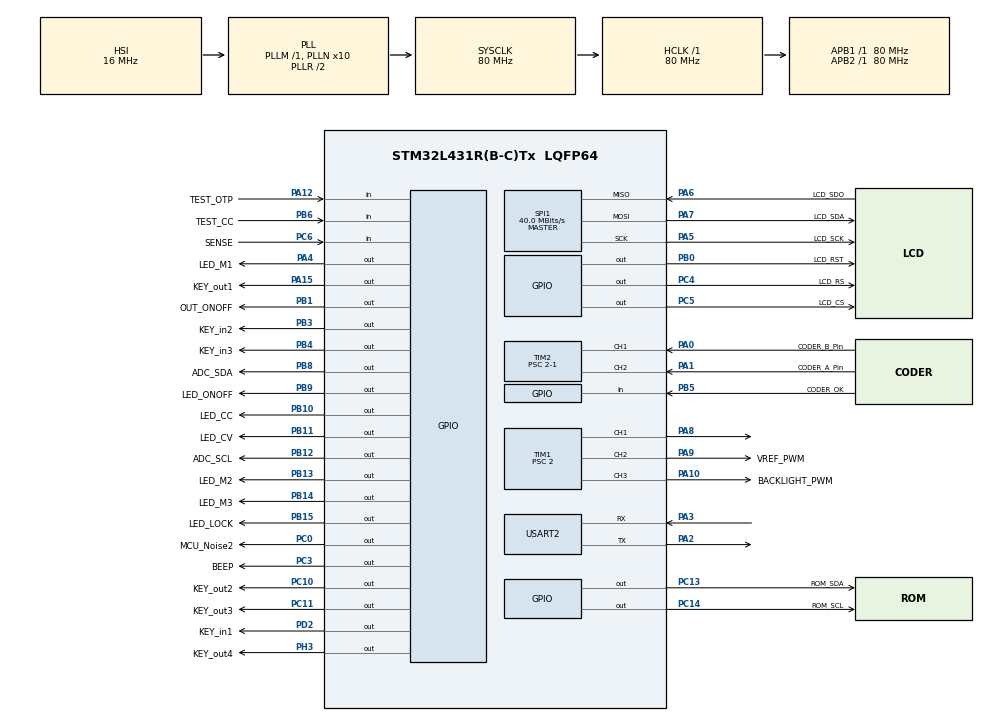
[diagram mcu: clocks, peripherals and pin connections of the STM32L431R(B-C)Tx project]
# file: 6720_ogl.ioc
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Dma.Request0=USART2_RX
Dma.Request1=USART2_TX
Dma.Request2=SPI1_TX
Dma.SPI1_TX.2.Direction=DMA_MEMORY_TO_PERIPH
Dma.SPI1_TX.2.Instance=DMA1_Channel3
Dma.SPI1_TX.2.MemDataAlignment=DMA_MDATAALIGN_BYTE
Dma.SPI1_TX.2.MemInc=DMA_MINC_ENABLE
Dma.SPI1_TX.2.Mode=DMA_NORMAL
Dma.SPI1_TX.2.PeriphDataAlignment=DMA_PDATAALIGN_BYTE
Dma.SPI1_TX.2.PeriphInc=DMA_PINC_DISABLE
Dma.SPI1_TX.2.Priority=DMA_PRIORITY_HIGH
Dma.USART2_RX.0.Direction=DMA_PERIPH_TO_MEMORY
Dma.USART2_RX.0.Instance=DMA1_Channel6
Dma.USART2_RX.0.MemDataAlignment=DMA_MDATAALIGN_BYTE
Dma.USART2_RX.0.MemInc=DMA_MINC_ENABLE
Dma.USART2_RX.0.Mode=DMA_NORMAL
Dma.USART2_RX.0.PeriphDataAlignment=DMA_PDATAALIGN_BYTE
Dma.USART2_RX.0.PeriphInc=DMA_PINC_DISABLE
Dma.USART2_RX.0.Priority=DMA_PRIORITY_LOW
Dma.USART2_TX.1.Direction=DMA_MEMORY_TO_PERIPH
Dma.USART2_TX.1.Instance=DMA1_Channel7
Dma.USART2_TX.1.MemDataAlignment=DMA_MDATAALIGN_BYTE
Dma.USART2_TX.1.MemInc=DMA_MINC_ENABLE
Dma.USART2_TX.1.Mode=DMA_NORMAL
Dma.USART2_TX.1.PeriphDataAlignment=DMA_PDATAALIGN_BYTE
Dma.USART2_TX.1.PeriphInc=DMA_PINC_DISABLE
Dma.USART2_TX.1.Priority=DMA_PRIORITY_LOW
FREERTOS.Mutexes01=LVGL_Mutex,Dynamic,NULL,Available
FREERTOS.Tasks01=defaultTask,24,256,StartDefaultTask,Default,NULL,Dynamic,NULL,NULL
FREERTOS.configENABLE_FPU=0
FREERTOS.configMINIMAL_STACK_SIZE=256
FREERTOS.configTOTAL_HEAP_SIZE=0x2000
FREERTOS.configUSE_TICK_HOOK=1
IWDG.Prescaler=IWDG_PRESCALER_8
IWDG.Reload=4000
IWDG.Window=4000
Mcu.Family=STM32L4
Mcu.Name=STM32L431R(B-C)Tx
Mcu.Package=LQFP64
NVIC.DMA1_Channel3_IRQn=true\:5\:0\:true\:false\:true\:true\:false\:true\:true
NVIC.DMA1_Channel6_IRQn=true\:5\:0\:true\:false\:true\:true\:false\:true\:true
NVIC.DMA1_Channel7_IRQn=true\:5\:0\:true\:false\:true\:true\:false\:true\:true
NVIC.PriorityGroup=NVIC_PRIORITYGROUP_4
NVIC.TIM1_UP_TIM16_IRQn=true\:5\:0\:true\:false\:true\:true\:true\:true\:true
NVIC.TIM7_IRQn=true\:15\:0\:false\:false\:true\:false\:false\:true\:true
NVIC.TimeBase=TIM7_IRQn
NVIC.TimeBaseIP=TIM7
NVIC.USART2_IRQn=true\:5\:0\:true\:false\:true\:true\:false\:true\:true
PA0.GPIO_Label=CODER_B_Pin
PA0.GPIO_ModeDefaultPP=GPIO_MODE_AF_PP
PA0.GPIO_PuPd=GPIO_PULLUP
PA0.Signal=S_TIM2_CH1
PA1.GPIO_Label=CODER_A_Pin
PA1.GPIO_ModeDefaultPP=GPIO_MODE_AF_PP
PA1.GPIO_PuPd=GPIO_PULLUP
PA1.Signal=S_TIM2_CH2
PA10.GPIO_Label=BACKLIGHT_PWM
PA10.Signal=S_TIM1_CH3
PA12.GPIO_Label=TEST_OTP
PA12.Signal=GPIO_Input
PA13\ (JTMS-SWDIO).Mode=Serial_Wire
PA13\ (JTMS-SWDIO).Signal=SYS_JTMS-SWDIO
PA14\ (JTCK-SWCLK).Mode=Serial_Wire
PA14\ (JTCK-SWCLK).Signal=SYS_JTCK-SWCLK
PA15\ (JTDI).GPIO_Label=KEY_out1
PA15\ (JTDI).GPIO_ModeDefaultOutputPP=GPIO_MODE_OUTPUT_OD
PA15\ (JTDI).GPIO_PuPd=GPIO_PULLUP
PA15\ (JTDI).PinState=GPIO_PIN_SET
PA15\ (JTDI).Signal=GPIO_Output
PA2.Mode=Asynchronous
PA2.Signal=USART2_TX
PA3.Mode=Asynchronous
PA3.Signal=USART2_RX
PA4.GPIO_Label=LED_M1
PA4.GPIO_PuPd=GPIO_PULLUP
PA4.PinState=GPIO_PIN_SET
PA4.Signal=GPIO_Output
PA5.GPIO_Label=LCD_SCK
PA5.Mode=Full_Duplex_Master
PA5.Signal=SPI1_SCK
PA6.GPIO_Label=LCD_SDO
PA6.Mode=Full_Duplex_Master
PA6.Signal=SPI1_MISO
PA7.GPIO_Label=LCD_SDA
PA7.Mode=Full_Duplex_Master
PA7.Signal=SPI1_MOSI
PA8.Signal=S_TIM1_CH1
PA9.GPIO_Label=VREF_PWM
PA9.Signal=S_TIM1_CH2
PB0.GPIO_Label=LCD_RST
PB0.Signal=GPIO_Output
PB1.GPIO_Label=OUT_ONOFF
PB1.GPIO_ModeDefaultOutputPP=GPIO_MODE_OUTPUT_PP
PB1.GPIO_PuPd=GPIO_PULLDOWN
PB1.PinState=GPIO_PIN_RESET
PB1.Signal=GPIO_Output
PB10.GPIO_Label=LED_CC
PB10.GPIO_PuPd=GPIO_PULLDOWN
PB10.PinState=GPIO_PIN_RESET
PB10.Signal=GPIO_Output
PB11.GPIO_Label=LED_CV
PB11.GPIO_PuPd=GPIO_PULLDOWN
PB11.PinState=GPIO_PIN_RESET
PB11.Signal=GPIO_Output
PB12.GPIO_Label=ADC_SCL
PB12.GPIO_ModeDefaultOutputPP=GPIO_MODE_OUTPUT_OD
PB12.GPIO_PuPd=GPIO_PULLUP
PB12.PinState=GPIO_PIN_SET
PB12.Signal=GPIO_Output
PB13.GPIO_Label=LED_M2
PB13.GPIO_ModeDefaultOutputPP=GPIO_MODE_OUTPUT_PP
PB13.GPIO_PuPd=GPIO_PULLUP
PB13.PinState=GPIO_PIN_SET
PB13.Signal=GPIO_Output
PB14.GPIO_Label=LED_M3
PB14.GPIO_ModeDefaultOutputPP=GPIO_MODE_OUTPUT_PP
PB14.GPIO_PuPd=GPIO_PULLUP
PB14.PinState=GPIO_PIN_SET
PB14.Signal=GPIO_Output
PB15.GPIO_Label=LED_LOCK
PB15.GPIO_PuPd=GPIO_PULLUP
PB15.PinState=GPIO_PIN_SET
PB15.Signal=GPIO_Output
PB3\ (JTDO-TRACESWO).GPIO_Label=KEY_in2
PB3\ (JTDO-TRACESWO).GPIO_ModeDefaultOutputPP=GPIO_MODE_OUTPUT_OD
PB3\ (JTDO-TRACESWO).GPIO_PuPd=GPIO_PULLUP
PB3\ (JTDO-TRACESWO).PinState=GPIO_PIN_SET
PB3\ (JTDO-TRACESWO).Signal=GPIO_Output
PB4\ (NJTRST).GPIO_Label=KEY_in3
PB4\ (NJTRST).GPIO_ModeDefaultOutputPP=GPIO_MODE_OUTPUT_OD
PB4\ (NJTRST).GPIO_PuPd=GPIO_PULLUP
PB4\ (NJTRST).PinState=GPIO_PIN_SET
PB4\ (NJTRST).Signal=GPIO_Output
PB5.GPIO_Label=CODER_OK
PB5.Signal=GPIO_Input
PB6.GPIO_Label=TEST_CC
PB6.Signal=GPIO_Input
PB8.GPIO_Label=ADC_SDA
PB8.GPIO_ModeDefaultOutputPP=GPIO_MODE_OUTPUT_OD
PB8.GPIO_PuPd=GPIO_PULLUP
PB8.PinState=GPIO_PIN_SET
PB8.Signal=GPIO_Output
PB9.GPIO_Label=LED_ONOFF
PB9.GPIO_PuPd=GPIO_PULLUP
PB9.PinState=GPIO_PIN_SET
PB9.Signal=GPIO_Output
PC0.GPIO_Label=MCU_Noise2
PC0.Signal=GPIO_Output
PC10.GPIO_Label=KEY_out2
PC10.GPIO_ModeDefaultOutputPP=GPIO_MODE_OUTPUT_OD
PC10.GPIO_PuPd=GPIO_PULLUP
PC10.PinState=GPIO_PIN_SET
PC10.Signal=GPIO_Output
PC11.GPIO_Label=KEY_out3
PC11.GPIO_ModeDefaultOutputPP=GPIO_MODE_OUTPUT_OD
PC11.GPIO_PuPd=GPIO_PULLUP
PC11.PinState=GPIO_PIN_SET
PC11.Signal=GPIO_Output
PC13.GPIO_Label=ROM_SDA
PC13.GPIO_ModeDefaultOutputPP=GPIO_MODE_OUTPUT_OD
PC13.GPIO_PuPd=GPIO_PULLUP
PC13.GPIO_Speed=GPIO_SPEED_FREQ_LOW
PC13.PinState=GPIO_PIN_SET
PC13.Signal=GPIO_Output
PC14-OSC32_IN\ (PC14).GPIO_Label=ROM_SCL
PC14-OSC32_IN\ (PC14).GPIO_ModeDefaultOutputPP=GPIO_MODE_OUTPUT_OD
PC14-OSC32_IN\ (PC14).GPIO_PuPd=GPIO_PULLUP
PC14-OSC32_IN\ (PC14).PinState=GPIO_PIN_SET
PC14-OSC32_IN\ (PC14).Signal=GPIO_Output
PC3.GPIO_Label=BEEP
PC3.GPIO_PuPd=GPIO_PULLDOWN
PC3.Signal=GPIO_Output
PC4.GPIO_Label=LCD_RS
PC4.Signal=GPIO_Output
PC5.GPIO_Label=LCD_CS
PC5.Signal=GPIO_Output
PC6.GPIO_Label=SENSE
PC6.Signal=GPIO_Input
PD2.GPIO_Label=KEY_in1
PD2.GPIO_ModeDefaultOutputPP=GPIO_MODE_OUTPUT_OD
PD2.GPIO_PuPd=GPIO_PULLUP
PD2.PinState=GPIO_PIN_SET
PD2.Signal=GPIO_Output
PH3-BOOT0.GPIO_Label=KEY_out4
PH3-BOOT0.GPIO_PuPd=GPIO_PULLUP
PH3-BOOT0.PinState=GPIO_PIN_SET
PH3-BOOT0.Signal=GPIO_Output
ProjectManager.HeapSize=0x200
ProjectManager.StackSize=0x400
ProjectManager.TargetToolchain=MDK-ARM V5.32
RCC.ADCFreq_Value=64000000
RCC.AHBFreq_Value=80000000
RCC.APB1Freq_Value=80000000
RCC.APB1TimFreq_Value=80000000
RCC.APB2Freq_Value=80000000
RCC.APB2TimFreq_Value=80000000
RCC.CortexFreq_Value=80000000
RCC.HCLKFreq_Value=80000000
RCC.HSE_VALUE=25000000
RCC.HSI48_VALUE=48000000
RCC.HSI_VALUE=16000000
RCC.LSE_VALUE=32768
RCC.MSI_VALUE=4000000
RCC.PLLN=10
RCC.PLLSourceVirtual=RCC_PLLSOURCE_HSI
RCC.SYSCLKFreq_VALUE=80000000
RCC.SYSCLKSource=RCC_SYSCLKSOURCE_PLLCLK
RCC.USART2CLockSelection=RCC_USART2CLKSOURCE_HSI
RCC.VCOOutputFreq_Value=160000000
SH.S_TIM1_CH1.0=TIM1_CH1,PWM Generation1 CH1
SH.S_TIM1_CH2.0=TIM1_CH2,PWM Generation2 CH2
SH.S_TIM1_CH3.0=TIM1_CH3,PWM Generation3 CH3
SH.S_TIM2_CH1.0=TIM2_CH1,Encoder_Interface
SH.S_TIM2_CH2.0=TIM2_CH2,Encoder_Interface
SPI1.CLKPolarity=SPI_POLARITY_LOW
SPI1.CalculateBaudRate=40.0 MBits/s
SPI1.DataSize=SPI_DATASIZE_8BIT
SPI1.Direction=SPI_DIRECTION_2LINES
SPI1.Mode=SPI_MODE_MASTER
SPI1.NSSPMode=SPI_NSS_PULSE_DISABLE
SPI1.VirtualType=VM_MASTER
TIM1.AutoReloadPreload=TIM_AUTORELOAD_PRELOAD_ENABLE
TIM1.Channel-PWM\ Generation1\ CH1=TIM_CHANNEL_1
TIM1.Channel-PWM\ Generation2\ CH2=TIM_CHANNEL_2
TIM1.Channel-PWM\ Generation3\ CH3=TIM_CHANNEL_3
TIM1.OCIdleState_1=TIM_OCIDLESTATE_SET
TIM1.OCIdleState_2=TIM_OCIDLESTATE_SET
TIM1.OCIdleState_3=TIM_OCIDLESTATE_RESET
TIM1.OCPolarity_1=TIM_OCPOLARITY_LOW
TIM1.OCPolarity_2=TIM_OCPOLARITY_LOW
TIM1.Prescaler=2
TIM16.AutoReloadPreload=TIM_AUTORELOAD_PRELOAD_ENABLE
TIM16.Period=200-1
TIM16.Prescaler=8000-1
TIM2.IC1Filter=15
TIM2.IC1Polarity=TIM_ICPOLARITY_FALLING
TIM2.IC2Filter=15
TIM2.Prescaler=2-1
USART2.VirtualMode-Asynchronous=VM_ASYNC
VP_CRC_VS_CRC.Mode=CRC_Activate
VP_FREERTOS_VS_CMSIS_V2.Mode=CMSIS_V2
VP_IWDG_VS_IWDG.Mode=IWDG_Activate
VP_SYS_VS_tim7.Mode=TIM7
VP_TIM16_VS_ClockSourceINT.Mode=Enable_Timer
VP_TIM1_VS_ClockSourceINT.Mode=Internal
board=custom

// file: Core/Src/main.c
/* USER CODE BEGIN Header */
/**
  ******************************************************************************
  * @file           : main.c
  * @brief          : Main program body
  ******************************************************************************
  * @attention
  *
  * Copyright (c) 2025 STMicroelectronics.
  * All rights reserved.
  *
  * This software is licensed under terms that can be found in the LICENSE file
  * in the root directory of this software component.
  * If no LICENSE file comes with this software, it is provided AS-IS.
  *
  ******************************************************************************
  */
/* USER CODE END Header */
#include "main.h"
#include "cmsis_os.h"
#include "crc.h"
#include "dma.h"
#include "iwdg.h"
#include "spi.h"
#include "tim.h"
#include "usart.h"
#include "gpio.h"

/* USER CODE BEGIN Includes */
#include "stdio.h"
#include "Button_Device.h"
#include "Beep_Device.h"
#include "core_cm4.h"
#include "stdint.h"
#include "st7789.h"
#include "lvgl.h"                // 它为整个LVGL提供了更完整的头文件引用
#include "lv_port_disp.h"        // LVGL的显示支持
#include "lv_port_indev.h"       // LVGL的触屏支持
/* USER CODE END Includes */

void SystemClock_Config(void);
void MX_FREERTOS_Init(void);

int main(void)
{

  /* MCU Configuration--------------------------------------------------------*/

  /* Reset of all peripherals, Initializes the Flash interface and the Systick. */
  HAL_Init();

  /* Configure the system clock */
  SystemClock_Config();

  /* Initialize all configured peripherals */
  MX_GPIO_Init();
  MX_DMA_Init();
  MX_USART2_UART_Init();
  MX_TIM2_Init();
  MX_SPI1_Init();
  MX_TIM1_Init();
  MX_TIM16_Init();
  //MX_CRC_Init();
  //MX_IWDG_Init();

  /* Init scheduler */
  osKernelInitialize();  /* Call init function for freertos objects (in cmsis_os2.c) */
  MX_FREERTOS_Init();

  /* Start scheduler */
  osKernelStart();

  /* We should never get here as control is now taken by the scheduler */

  /* Infinite loop */
  while (1)
  {

  }
}

void SystemClock_Config(void)
{
  RCC_OscInitTypeDef RCC_OscInitStruct = {0};
  RCC_ClkInitTypeDef RCC_ClkInitStruct = {0};

  /** Configure the main internal regulator output voltage
  */
  if (HAL_PWREx_ControlVoltageScaling(PWR_REGULATOR_VOLTAGE_SCALE1) != HAL_OK)
  {
    Error_Handler();
  }

  /** Initializes the RCC Oscillators according to the specified parameters
  * in the RCC_OscInitTypeDef structure.
  */
  RCC_OscInitStruct.OscillatorType = RCC_OSCILLATORTYPE_HSI;
  RCC_OscInitStruct.HSIState = RCC_HSI_ON;
  RCC_OscInitStruct.HSICalibrationValue = RCC_HSICALIBRATION_DEFAULT;
  RCC_OscInitStruct.LSIState = RCC_LSI_ON;
  RCC_OscInitStruct.PLL.PLLState = RCC_PLL_ON;
  RCC_OscInitStruct.PLL.PLLSource = RCC_PLLSOURCE_HSI;
  RCC_OscInitStruct.PLL.PLLM = 1;
  RCC_OscInitStruct.PLL.PLLN = 10;
  RCC_OscInitStruct.PLL.PLLP = RCC_PLLP_DIV7;
  RCC_OscInitStruct.PLL.PLLQ = RCC_PLLQ_DIV2;
  RCC_OscInitStruct.PLL.PLLR = RCC_PLLR_DIV2;
  if (HAL_RCC_OscConfig(&RCC_OscInitStruct) != HAL_OK)
  {
    Error_Handler();
  }

  /** Initializes the CPU, AHB and APB buses clocks
  */
  RCC_ClkInitStruct.ClockType = RCC_CLOCKTYPE_HCLK|RCC_CLOCKTYPE_SYSCLK
                              |RCC_CLOCKTYPE_PCLK1|RCC_CLOCKTYPE_PCLK2;
  RCC_ClkInitStruct.SYSCLKSource = RCC_SYSCLKSOURCE_PLLCLK;
  RCC_ClkInitStruct.AHBCLKDivider = RCC_SYSCLK_DIV1;
  RCC_ClkInitStruct.APB1CLKDivider = RCC_HCLK_DIV1;
  RCC_ClkInitStruct.APB2CLKDivider = RCC_HCLK_DIV1;

  if (HAL_RCC_ClockConfig(&RCC_ClkInitStruct, FLASH_LATENCY_4) != HAL_OK)
  {
    Error_Handler();
  }
}

/* USER CODE BEGIN 4 */
//�����ض���
#ifdef __GNUC__
#define PUTCHAR_PROTOTYPE int __io_putchar(int ch)
#else
#define PUTCHAR_PROTOTYPE int fputc(int ch, FILE *f)
#endif
PUTCHAR_PROTOTYPE
{
    HAL_UART_Transmit(&huart2, (uint8_t *)&ch, 1, 50);
    return ch;
}
/* USER CODE END 4 */

void HAL_TIM_PeriodElapsedCallback(TIM_HandleTypeDef *htim)
{
  if (htim->Instance == TIM7)
  {
    HAL_IncTick();
  }
  /* USER CODE BEGIN Callback 1 */
  if(htim->Instance == TIM16)
      {
        //б�ʿ���
            beep_Tick(20);
      }
  /* USER CODE END Callback 1 */
}

void Error_Handler(void)
{
}

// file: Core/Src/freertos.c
/* USER CODE BEGIN Header */
/**
  ******************************************************************************
  * File Name          : freertos.c
  * Description        : Code for freertos applications
  ******************************************************************************
  * @attention
  *
  * Copyright (c) 2025 STMicroelectronics.
  * All rights reserved.
  *
  * This software is licensed under terms that can be found in the LICENSE file
  * in the root directory of this software component.
  * If no LICENSE file comes with this software, it is provided AS-IS.
  *
  ******************************************************************************
  */
/* USER CODE END Header */

#include "FreeRTOS.h"
#include "task.h"
#include "main.h"
#include "cmsis_os.h"

/* USER CODE BEGIN Includes */
#include "Beep_Device.h"
#include "lvgl.h"
#include "semphr.h"
#include "lv_port_disp.h"        // LVGL����ʾ֧��
#include "lv_port_indev.h"       // LVGL�Ĵ���֧��
#include "user_TasksInit.h"
#include "st7789.h"
#include "tim.h"
/* USER CODE END Includes */

/* Definitions for defaultTask */
osThreadId_t defaultTaskHandle;
const osThreadAttr_t defaultTask_attributes = {
  .name = "defaultTask",
  .stack_size = 256 * 4,
  .priority = (osPriority_t) osPriorityNormal,
};
/* Definitions for LVGL_Mutex */
osMutexId_t LVGL_MutexHandle;
const osMutexAttr_t LVGL_Mutex_attributes = {
  .name = "LVGL_Mutex"
};

void StartDefaultTask(void *argument);

void MX_FREERTOS_Init(void); /* (MISRA C 2004 rule 8.1) */

/* Hook prototypes */
void vApplicationTickHook(void);

/* USER CODE BEGIN 3 */
void vApplicationTickHook( void )
{
   /* This function will be called by each tick interrupt if
   configUSE_TICK_HOOK is set to 1 in FreeRTOSConfig.h. User code can be
   added here, but the tick hook is called from an interrupt context, so
   code must not attempt to block, and only the interrupt safe FreeRTOS API
   functions can be used (those that end in FromISR()). */
  	TaskTickHook();//  lv_tick_inc(1);
}
/* USER CODE END 3 */

void MX_FREERTOS_Init(void) {
  /* USER CODE BEGIN Init */
  	User_Tasks_Init();
  /* USER CODE END Init */
  /* Create the mutex(es) */
  /* creation of LVGL_Mutex */
  LVGL_MutexHandle = osMutexNew(&LVGL_Mutex_attributes);

  /* Create the thread(s) */
  /* creation of defaultTask */
  defaultTaskHandle = osThreadNew(StartDefaultTask, NULL, &defaultTask_attributes);

}

void StartDefaultTask(void *argument)
{
  for(;;)
  {
  }
}
